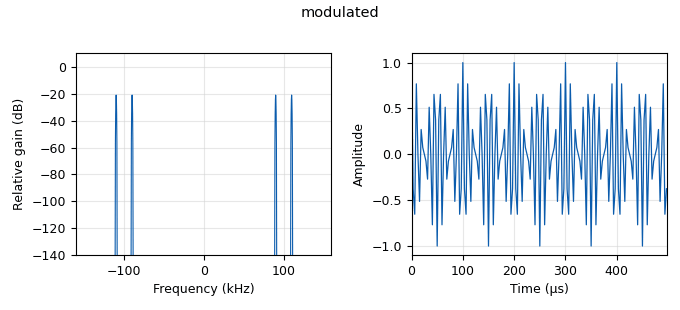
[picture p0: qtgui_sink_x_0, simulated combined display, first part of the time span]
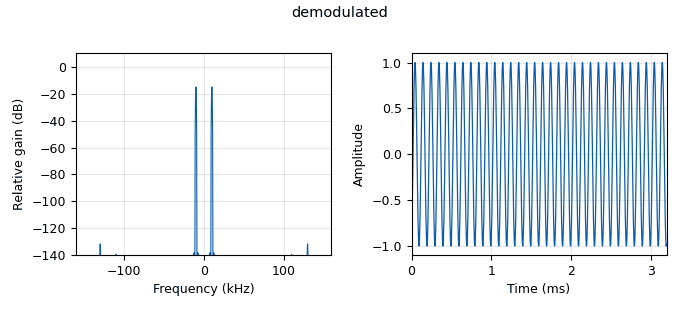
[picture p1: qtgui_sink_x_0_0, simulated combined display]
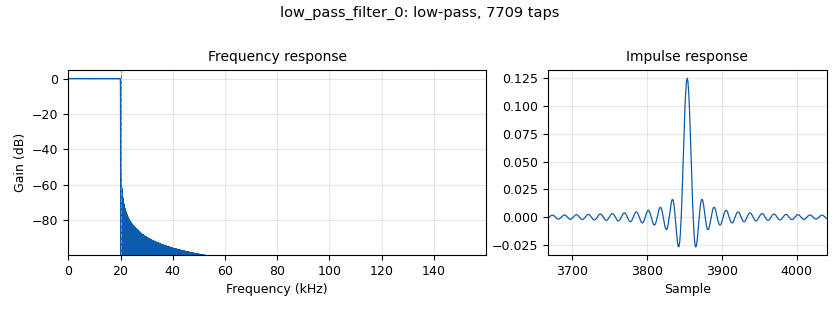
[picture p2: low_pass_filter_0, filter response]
options:
  parameters:
    generate_options: qt_gui
    id: Lab2_2
    output_language: python
    title: DSB_SC
  states: {}

blocks:
- name: samp_rate
  id: variable
  parameters:
    value: '320000'
  states: {}
- name: analog_sig_source_x_0
  id: analog_sig_source_x
  parameters:
    amp: '1'
    freq: '10000'
    offset: '0'
    phase: '0'
    samp_rate: samp_rate
    type: float
    waveform: analog.GR_COS_WAVE
  states: {}
- name: analog_sig_source_x_0_0
  id: analog_sig_source_x
  parameters:
    amp: '1'
    freq: 1E5
    offset: '0'
    phase: '0'
    samp_rate: 320e3
    type: float
    waveform: analog.GR_COS_WAVE
  states: {}
- name: blocks_multiply_const_vxx_0
  id: blocks_multiply_const_vxx
  parameters:
    const: '2'
    type: float
  states: {}
- name: blocks_multiply_xx_0
  id: blocks_multiply_xx
  parameters:
    type: float
  states: {}
- name: blocks_multiply_xx_0_0
  id: blocks_multiply_xx
  parameters:
    type: float
  states: {}
- name: low_pass_filter_0
  id: low_pass_filter
  parameters:
    cutoff_freq: 20e3
    decim: '1'
    gain: '1'
    samp_rate: samp_rate
    type: fir_filter_fff
    width: '100'
    win: window.WIN_HAMMING
  states: {}
- name: qtgui_sink_x_0
  id: qtgui_sink_x
  parameters:
    bw: 320e3
    fc: '0'
    fftsize: '1024'
    name: modulated
    type: float
  states: {}
- name: qtgui_sink_x_0_0
  id: qtgui_sink_x
  parameters:
    bw: samp_rate
    fc: '0'
    fftsize: '1024'
    name: demodulated
    type: float
  states: {}

connections:
- [analog_sig_source_x_0, '0', blocks_multiply_xx_0, '0']
- [analog_sig_source_x_0_0, '0', blocks_multiply_xx_0, '1']
- [analog_sig_source_x_0_0, '0', blocks_multiply_xx_0_0, '1']
- [blocks_multiply_const_vxx_0, '0', qtgui_sink_x_0_0, '0']
- [blocks_multiply_xx_0, '0', blocks_multiply_xx_0_0, '0']
- [blocks_multiply_xx_0, '0', qtgui_sink_x_0, '0']
- [blocks_multiply_xx_0_0, '0', low_pass_filter_0, '0']
- [low_pass_filter_0, '0', blocks_multiply_const_vxx_0, '0']

metadata:
  file_format: 1
  grc_version: 3.10.7.0
